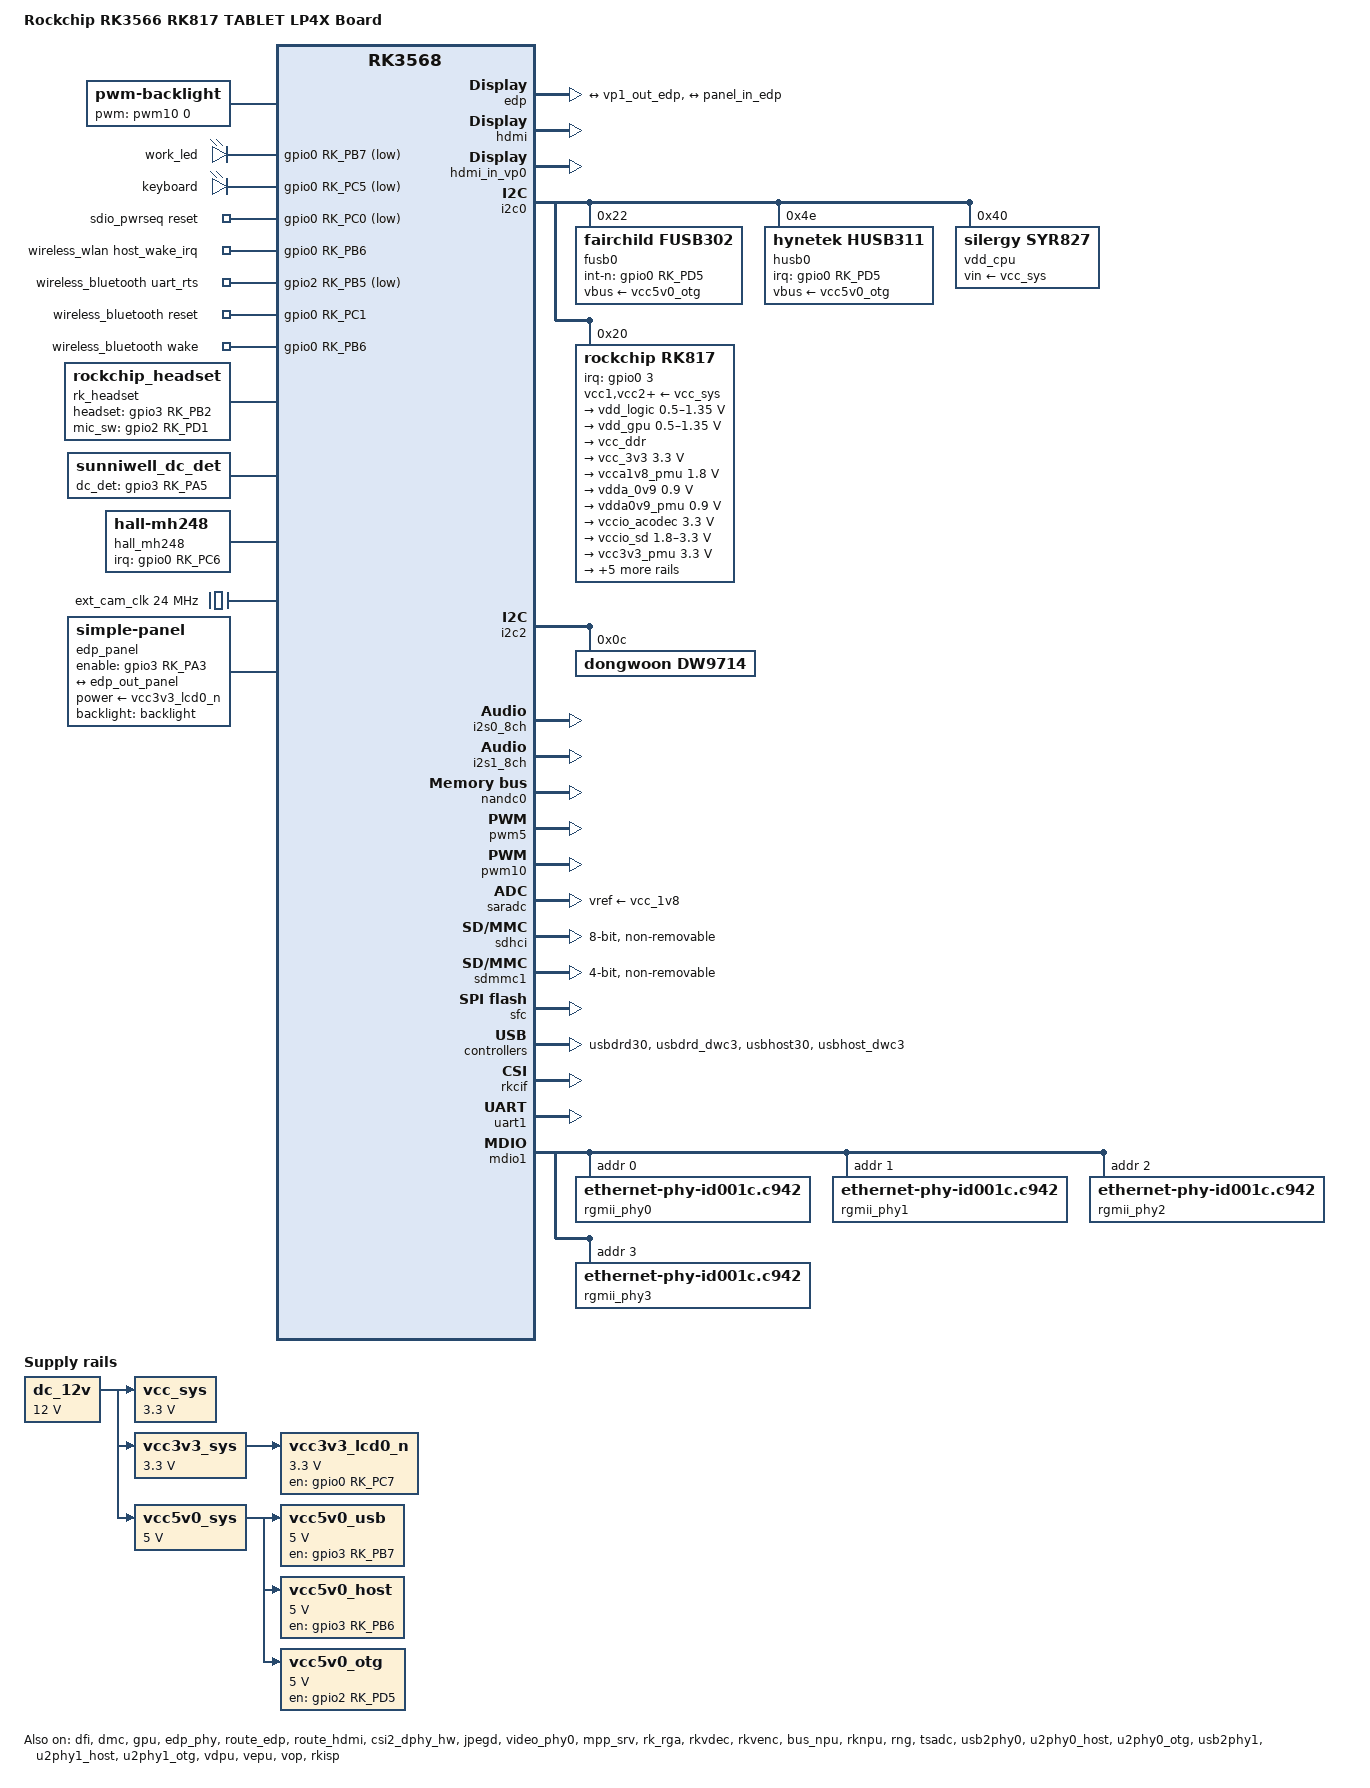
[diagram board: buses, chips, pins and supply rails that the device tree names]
// SPDX-License-Identifier: (GPL-2.0+ OR MIT)
/*
 * Copyright (c) 2020 Rockchip Electronics Co., Ltd.
 *
 */

/dts-v1/;

#include <dt-bindings/gpio/gpio.h>
#include <dt-bindings/pinctrl/rockchip.h>
#include <dt-bindings/input/rk-input.h>
#include <dt-bindings/sensor-dev.h>
#include <dt-bindings/display/drm_mipi_dsi.h>
#include "rk3568-sunniwell-part1.dtsi"
#include "rk3568-sunniwell-part2.dtsi"

/ {
	model = "Rockchip RK3566 RK817 TABLET LP4X Board";
	compatible = "rockchip,rk3568-evb2-lp4x-v10", "rockchip,rk3568";

	    adc_keys: adc-keys {
        status = "disabled";
        compatible = "adc-keys";
        io-channels = <&saradc 0>;
        io-channel-names = "buttons";
        keyup-threshold-microvolt = <1800000>;
        poll-interval = <100>;

        vol-up-key {
            label = "volume up";
            linux,code = <KEY_VOLUMEUP>;
            press-threshold-microvolt = <1750>;
        };

        vol-down-key {
            label = "volume down";
            linux,code = <KEY_VOLUMEDOWN>;
            press-threshold-microvolt = <297500>;
        };

        menu-key {
            label = "menu";
            linux,code = <KEY_MENU>;
            press-threshold-microvolt = <980000>;
        };

        back-key {
            label = "back";
            linux,code = <KEY_BACK>;
            press-threshold-microvolt = <1305500>;
        };
    };

	audiopwmout_diff: audiopwmout-diff {
        status = "disabled";
        compatible = "simple-audio-card";
        simple-audio-card,format = "i2s";
        simple-audio-card,name = "rockchip,audiopwmout-diff";
        simple-audio-card,mclk-fs = <256>;
        simple-audio-card,bitclock-master = <&master>;
        simple-audio-card,frame-master = <&master>;
        simple-audio-card,cpu {
            sound-dai = <&i2s3_2ch>;
        };
        master: simple-audio-card,codec {
            sound-dai = <&dig_acodec>;
        };
    };

	backlight: backlight {
		compatible = "pwm-backlight";
		pwms = <&pwm10 0 25000 0>;
		brightness-levels = <
			  0  20  20  21  21  22  22  23
			 23  24  24  25  25  26  26  27
			 27  28  28  29  29  30  30  31
			 31  32  32  33  33  34  34  35
			 35  36  36  37  37  38  38  39
			 40  41  42  43  44  45  46  47
			 48  49  50  50  51  52  53  54
			 55  55  56  57  58  59  60  61
			 62  63  64  64  65  65  66  67
			 68  69  70  71  71  72  73  74
			 75  76  77  78  79  79  80  81
			 82  83  84  85  86  86  87  88
			 89  90  91  92  93  94  94  95
			 96  97  98  99 100 101 101 102
			103 104 105 106 107 107 108 109
			110 111 112 113 114 115 115 116
			117 118 119 120 121 122 123 123
			124 125 126 127 128 129 130 130
			131 132 133 134 135 136 136 137
			138 139 140 141 142 143 143 144
			145 146 147 147 148 149 150 151
			152 153 154 155 156 156 157 158
			159 157 158 159 160 161 162 162
			163 164 165 166 167 168 169 169
			170 171 172 173 174 175 175 176
			177 178 179 180 181 182 182 183
			184 185 186 187 188 189 190 190
			191 192 193 194 195 196 197 197
			198 199 200 201 202 203 204 204
			205 206 207 208 209 209 210 211
			212 213 213 214 214 215 215 216
			216 217 217 218 218 219 219 220
		>;
		default-brightness-level = <200>;
	};

	charge-animation {
		compatible = "rockchip,uboot-charge";
		rockchip,uboot-charge-on = <1>;
		rockchip,android-charge-on = <0>;
		rockchip,uboot-low-power-voltage = <3350>;
		rockchip,screen-on-voltage = <3400>;
		status = "disabled";
	};

    dc_12v: dc-12v {
        compatible = "regulator-fixed";
        regulator-name = "dc_12v";
        regulator-always-on;
        regulator-boot-on;
        regulator-min-microvolt = <12000000>;
        regulator-max-microvolt = <12000000>;
    };

	vcc_sys: vcc_sys {
		compatible = "regulator-fixed";
		regulator-name = "vcc_sys";
		regulator-always-on;
		regulator-boot-on;
		regulator-min-microvolt = <3300000>;
		regulator-max-microvolt = <3300000>;
		vin-supply = <&dc_12v>;
	};

	hdmi_sound: hdmi-sound {
		compatible = "simple-audio-card";
		simple-audio-card,format = "i2s";
		simple-audio-card,mclk-fs = <128>;
		simple-audio-card,name = "rockchip,hdmi";
		status = "okay";

		simple-audio-card,cpu {
				sound-dai = <&i2s0_8ch>;
		};
		simple-audio-card,codec {
				sound-dai = <&hdmi>;
		};
	};

	leds: leds {
        compatible = "gpio-leds";
        work_led: work {
            gpios = <&gpio0 RK_PB7 GPIO_ACTIVE_LOW>;
			linux,default-trigger = "on";
        };
		keyboard: key {
			gpios = <&gpio0 RK_PC5 GPIO_ACTIVE_LOW>;
			linux,default-trigger = "on";
		};
    };

	pdmics: dummy-codec {
        status = "disabled";
        compatible = "rockchip,dummy-codec";
        #sound-dai-cells = <0>;
    };

	
	pdm_mic_array: pdm-mic-array {
        status = "disabled";
        compatible = "simple-audio-card";
        simple-audio-card,name = "rockchip,pdm-mic-array";
        simple-audio-card,cpu {
            sound-dai = <&pdm>;
        };
        simple-audio-card,codec {
            sound-dai = <&pdmics>;
        };
    };

	rk817-sound {
		compatible = "simple-audio-card";
		simple-audio-card,format = "i2s";
		simple-audio-card,name = "rockchip,rk817-codec";
		simple-audio-card,mclk-fs = <256>;

		simple-audio-card,cpu {
			sound-dai = <&i2s1_8ch>;
		};
		simple-audio-card,codec {
			sound-dai = <&rk817_codec>;
		};
	};



	vcc3v3_sys: vcc3v3-sys {
        compatible = "regulator-fixed";
        regulator-name = "vcc3v3_sys";
        regulator-always-on;
        regulator-boot-on;
        regulator-min-microvolt = <3300000>;
        regulator-max-microvolt = <3300000>;
        vin-supply = <&dc_12v>;
    };

	vcc5v0_sys: vcc5v0-sys {
        compatible = "regulator-fixed";
        regulator-name = "vcc5v0_sys";
        regulator-always-on;
        regulator-boot-on;
        regulator-min-microvolt = <5000000>;
        regulator-max-microvolt = <5000000>;
        vin-supply = <&dc_12v>;
    };

	vcc5v0_usb: vcc5v0-usb {
        compatible = "regulator-fixed";
        regulator-name = "vcc5v0_usb";
        regulator-always-on;
        regulator-boot-on;
        regulator-min-microvolt = <5000000>;
        regulator-max-microvolt = <5000000>;
        enable-active-high;
        gpio = <&gpio3 RK_PB7 GPIO_ACTIVE_HIGH>;
        vin-supply = <&vcc5v0_sys>;
        pinctrl-names = "default";
        pinctrl-0 = <&vcc5v0_otg_pwr_en>;
    };

    vcc5v0_host: vcc5v0-host-regulator {
        compatible = "regulator-fixed";
        regulator-name = "vcc5v0_host";
        regulator-boot-on;
        regulator-always-on;
        regulator-min-microvolt = <5000000>;
        regulator-max-microvolt = <5000000>;
        enable-active-high;
        gpio = <&gpio3 RK_PB6 GPIO_ACTIVE_HIGH>;
        vin-supply = <&vcc5v0_sys>;
        pinctrl-names = "default";
        pinctrl-0 = <&vcc5v0_host_en>;
    };

    vcc5v0_otg: vcc5v0-otg-regulator {
        compatible = "regulator-fixed";
        regulator-name = "vcc5v0_otg";
        regulator-min-microvolt = <5000000>;
        regulator-max-microvolt = <5000000>;
        enable-active-high;
        gpio = <&gpio2 RK_PD5 GPIO_ACTIVE_HIGH>;
        vin-supply = <&vcc5v0_sys>;
        pinctrl-names = "default";
        pinctrl-0 = <&vcc5v0_otg_en>;
    };

    vcc3v3_lcd0_n: vcc3v3-lcd0-n {
        compatible = "regulator-fixed";
        regulator-name = "vcc3v3_lcd0_n";
        regulator-boot-on;
        regulator-min-microvolt = <3300000>;
        regulator-max-microvolt = <3300000>;
        enable-active-high;
        gpio = <&gpio0 RK_PC7 GPIO_ACTIVE_HIGH>;
        vin-supply = <&vcc3v3_sys>;

        regulator-state-mem {
            regulator-off-in-suspend;
        };
    };



	sdio_pwrseq: sdio-pwrseq {
		status = "okay";
		compatible = "mmc-pwrseq-simple";
		clocks = <&rk817 1>;
		clock-names = "ext_clock";
		pinctrl-names = "default";
		pinctrl-0 = <&wifi_enable_h>;
		post-power-on-delay-ms = <200>;
		reset-gpios = <&gpio0 RK_PC0 GPIO_ACTIVE_LOW>;
	};


	wireless_wlan: wireless-wlan {
		compatible = "wlan-platdata";
		rockchip,grf = <&grf>;
		wifi_chip_type = "rtl8821cs";
		pinctrl-names = "default";
		pinctrl-0 = <&wifi_host_wake_irq>;
		WIFI,host_wake_irq = <&gpio0 RK_PB6 GPIO_ACTIVE_HIGH>;
		status = "okay";
	};

	wireless_bluetooth: wireless-bluetooth {
		compatible = "bluetooth-platdata";
		clocks = <&rk817 1>;
		clock-names = "ext_clock";
		//wifi-bt-power-toggle;
		uart_rts_gpios = <&gpio2 RK_PB5 GPIO_ACTIVE_LOW>;
		pinctrl-names = "default", "rts_gpio";
		pinctrl-0 = <&uart1m0_rtsn>;
		pinctrl-1 = <&uart1_gpios>;
		BT,reset_gpio    = <&gpio0 RK_PC1 GPIO_ACTIVE_HIGH>;
		BT,wake_gpio     = <&gpio0 RK_PB6 GPIO_ACTIVE_HIGH>;
		status = "okay";
	};

	test-power {
        status = "okay";
    };

	rk_headset: rk-headset {
        compatible = "rockchip_headset";
        headset_gpio = <&gpio3 RK_PB2 GPIO_ACTIVE_HIGH>;
        mic_sw_gpio = <&gpio2 RK_PD1 GPIO_ACTIVE_HIGH>;
        pinctrl-names = "default";
        pinctrl-0 = <&hp_det>;
    };

	dc_det: dc-det {
        compatible = "sunniwell_dc_det";
        dc_det_gpio = <&gpio3 RK_PA5 GPIO_ACTIVE_HIGH>;
        pinctrl-names = "default";
        pinctrl-0 = <&dc_det_gpio_pin>;
    };

	bt_sco: bt-sco {
        compatible = "delta,dfbmcs320";
        #sound-dai-cells = <0>;
        status = "okay";
    };
	
	bt_sound: bt-sound {
        compatible = "simple-audio-card";
        simple-audio-card,format = "dsp_b";
        simple-audio-card,bitclock-inversion = <0x00000001>;
        simple-audio-card,mclk-fs = <0x00000100>;
        simple-audio-card,name = "rockchip,bt";
        simple-audio-card,bitclock-master = <&bt_sound>;
        simple-audio-card,frame-master = <&bt_sound>;
        simple-audio-card,cpu {
            sound-dai = <&i2s2_2ch>;
        };
        simple-audio-card,codec {
            sound-dai = <&bt_sco>;
        };
    };

	hall_mh248: hall-mh248 {
        compatible = "hall-mh248";
        status = "okay";
        pinctrl-names = "default";
        pinctrl-0 = <&mh_248>;
        irq-gpio = <&gpio0 RK_PC6 IRQ_TYPE_LEVEL_LOW>;
        hall-active = <0x00000001>;
    };

		ext_cam_clk: external-camera-clock {
        compatible = "fixed-clock";
        clock-frequency = <24000000>;
        clock-output-names = "CLK_CAMERA_24MHZ";
        #clock-cells = <0>;
    };

	edp_panel {
        compatible = "simple-panel";
        power-supply = <&vcc3v3_lcd0_n>;
        backlight = <&backlight>;
        enable-gpios = <&gpio3 RK_PA3 GPIO_ACTIVE_HIGH>;
        bus-format = <0x0000100a>;
        bpc = <0x00000008>;
        ports {
            panel_in_edp: endpoint {
                remote-endpoint = <&edp_out_panel>;
            };
        };
    };
};

&cpu0 {
	cpu-supply = <&vdd_cpu>;
};

&dfi {
	status = "okay";
};

&dmc {
	center-supply = <&vdd_logic>;
	status = "okay";
};

&gpu {
	mali-supply = <&vdd_gpu>;
	status = "okay";
};

&edp_phy {
    status = "okay";
};

&edp {
    force-hpd;
    status = "okay";
    ports {
        edp_in: port@0 {
            edp_in_vp1: endpoint@1 {
                reg = <1>;
                remote-endpoint = <&vp1_out_edp>;
                status = "okay";
            };
        };
        port@1 {
            reg = <1>;

            edp_out_panel: endpoint {
                remote-endpoint = <&panel_in_edp>;
            };
        };
    };
};

&edp_in_vp0 {
    status = "disabled";
};

&edp_in_vp1 {
    status = "okay";
};

&route_edp {
    connect = <&vp1_out_edp>;
    status = "okay";
};

&hdmi {
    status = "okay";
    rockchip,phy-table =
        <92812500  0x8009 0x0000 0x0270>,
        <165000000 0x800b 0x0000 0x026d>,
        <185625000 0x800b 0x0000 0x01ed>,
        <297000000 0x800b 0x0000 0x01ad>,
        <594000000 0x8029 0x0000 0x0088>,
        <000000000 0x0000 0x0000 0x0000>;
};

&hdmi_in_vp0 {
    status = "okay";
};

&hdmi_in_vp1 {
    status = "disabled";
};

&route_hdmi {
    status = "okay";
    connect = <&vp1_out_hdmi>;
};



&csi2_dphy_hw {
	status = "okay";
};

&csi2_dphy0 {
	status = "disabled";
};







&dsi0 {
	status = "disabled";
};

&dsi0_in_vp0 {
	status = "disabled";
};

&dsi0_in_vp1 {
	status = "disabled";
};


&i2c0 {
	status = "okay";

	fusb0: fusb30x@22 {
        compatible = "fairchild,fusb302";
        reg = <0x22>;
        pinctrl-names = "default";
        pinctrl-0 = <&fusb0_int>;
        vbus-supply = <&vcc5v0_otg>;
        int-n-gpios = <&gpio0 RK_PD5 GPIO_ACTIVE_HIGH>;
        status = "okay";
    };

	husb0: husb311@4e {
        compatible = "hynetek,husb311";
        reg = <0x4e>;
        interrupt-parent = <&gpio0>;
        interrupts = <RK_PD5 IRQ_TYPE_LEVEL_LOW>;
        pinctrl-names = "default";
        pinctrl-0 = <&fusb0_int>;
        vbus-supply = <&vcc5v0_otg>;
        status = "okay";

        usb_con: connector {
            data-role = "dual";
            power-role = "dual";
            try-power-role = "source";
            source-pdos = <0x040190c8>;
            sink-pdos = <0x040190c8>;
            op-sink-microwatt = <10000000>;
        };
    };


    vdd_cpu:syr837@40 {
        compatible = "silergy,syr827";
        reg = <0x40>;
        vin-supply = <&vcc_sys>;
        regulator-compatible = "fan53555-reg";
        regulator-name = "vdd_cpu";
        regulator-min-microvolt = <712500>;
        regulator-max-microvolt = <1390000>;
        regulator-ramp-delay = <2300>;
        fcs,suspend-voltage-selector = <1>;
        regulator-always-on;
        regulator-initial-state = <3>;
        regulator-state-mem {
            regulator-off-in-suspend;
        };
    };

	rk817: pmic@20 {
		compatible = "rockchip,rk817";
		reg = <0x20>;
		interrupt-parent = <&gpio0>;
		interrupts = <3 IRQ_TYPE_LEVEL_LOW>;

		pinctrl-names = "default", "pmic-sleep",
				"pmic-power-off", "pmic-reset";
		pinctrl-0 = <&pmic_int>;
		pinctrl-1 = <&soc_slppin_slp>, <&rk817_slppin_slp>;
		pinctrl-2 = <&soc_slppin_gpio>, <&rk817_slppin_pwrdn>;
		pinctrl-3 = <&soc_slppin_gpio>, <&rk817_slppin_rst>;
		rockchip,system-power-controller;
		wakeup-source;
		#clock-cells = <1>;
		clock-output-names = "rk808-clkout1", "rk808-clkout2";
		//fb-inner-reg-idxs = <2>;
		/* 1: rst regs (default in codes), 0: rst the pmic */
		pmic-reset-func = <0>;
		/* not save the PMIC_POWER_EN register in uboot */
		not-save-power-en = <1>;

		vcc1-supply = <&vcc_sys>;
		vcc2-supply = <&vcc_sys>;
		vcc3-supply = <&vcc_sys>;
		vcc4-supply = <&vcc_sys>;
		vcc5-supply = <&vcc_sys>;
		vcc6-supply = <&vcc_sys>;
		vcc7-supply = <&vcc_sys>;
		vcc8-supply = <&vcc_sys>;
		vcc9-supply = <&vcc_sys>;

		pwrkey {
			status = "okay";
		};

		pinctrl_rk8xx: pinctrl_rk8xx {
			gpio-controller;
			#gpio-cells = <2>;

			rk817_slppin_null: rk817_slppin_null {
				pins = "gpio_slp";
				function = "pin_fun0";
			};

			rk817_slppin_slp: rk817_slppin_slp {
				pins = "gpio_slp";
				function = "pin_fun1";
			};

			rk817_slppin_pwrdn: rk817_slppin_pwrdn {
				pins = "gpio_slp";
				function = "pin_fun2";
			};

			rk817_slppin_rst: rk817_slppin_rst {
				pins = "gpio_slp";
				function = "pin_fun3";
			};
		};

		regulators {
			vdd_logic: DCDC_REG1 {
				regulator-always-on;
				regulator-boot-on;
				regulator-min-microvolt = <500000>;
				regulator-max-microvolt = <1350000>;
				regulator-init-microvolt = <900000>;
				regulator-ramp-delay = <6001>;
				regulator-initial-mode = <0x2>;
				regulator-name = "vdd_logic";
				regulator-state-mem {
					regulator-off-in-suspend;
					regulator-suspend-microvolt = <900000>;
				};
			};

			vdd_gpu: DCDC_REG2 {
				regulator-always-on;
				regulator-boot-on;
				regulator-min-microvolt = <500000>;
				regulator-max-microvolt = <1350000>;
				regulator-init-microvolt = <900000>;
				regulator-ramp-delay = <6001>;
				regulator-initial-mode = <0x2>;
				regulator-name = "vdd_gpu";
				regulator-state-mem {
					regulator-off-in-suspend;
				};
			};

			vcc_ddr: DCDC_REG3 {
				regulator-always-on;
				regulator-boot-on;
				regulator-initial-mode = <0x2>;
				regulator-name = "vcc_ddr";
				regulator-state-mem {
					regulator-on-in-suspend;
				};
			};

			vcc_3v3: DCDC_REG4 {
				regulator-always-on;
				regulator-boot-on;
				regulator-min-microvolt = <3300000>;
				regulator-max-microvolt = <3300000>;
				regulator-initial-mode = <0x2>;
				regulator-name = "vcc_3v3";
				regulator-state-mem {
					regulator-off-in-suspend;
				};
			};

			vcca1v8_pmu: LDO_REG1 {
				regulator-always-on;
				regulator-boot-on;
				regulator-min-microvolt = <1800000>;
				regulator-max-microvolt = <1800000>;
				regulator-name = "vcca1v8_pmu";
				regulator-state-mem {
					regulator-on-in-suspend;
					regulator-suspend-microvolt = <1800000>;
				};
			};

			vdda_0v9: LDO_REG2 {
				regulator-always-on;
				regulator-boot-on;
				regulator-min-microvolt = <900000>;
				regulator-max-microvolt = <900000>;
				regulator-name = "vdda_0v9";
				regulator-state-mem {
					regulator-off-in-suspend;
				};
			};

			vdda0v9_pmu: LDO_REG3 {
				regulator-always-on;
				regulator-boot-on;
				regulator-min-microvolt = <900000>;
				regulator-max-microvolt = <900000>;
				regulator-name = "vdda0v9_pmu";
				regulator-state-mem {
					regulator-on-in-suspend;
					regulator-suspend-microvolt = <900000>;
				};
			};

			vccio_acodec: LDO_REG4 {
				regulator-always-on;
				regulator-boot-on;
				regulator-min-microvolt = <3300000>;
				regulator-max-microvolt = <3300000>;
				regulator-name = "vccio_acodec";
				regulator-state-mem {
					regulator-off-in-suspend;
				};
			};

			vccio_sd: LDO_REG5 {
				regulator-always-on;
				regulator-boot-on;
				regulator-min-microvolt = <1800000>;
				regulator-max-microvolt = <3300000>;
				regulator-name = "vccio_sd";
				regulator-state-mem {
					regulator-off-in-suspend;
				};
			};

			vcc3v3_pmu: LDO_REG6 {
				regulator-always-on;
				regulator-boot-on;
				regulator-min-microvolt = <3300000>;
				regulator-max-microvolt = <3300000>;
				regulator-name = "vcc3v3_pmu";
				regulator-state-mem {
					regulator-on-in-suspend;
					regulator-suspend-microvolt = <3000000>;
				};
			};

			vcc_1v8: LDO_REG7 {
				regulator-always-on;
				regulator-boot-on;
				regulator-min-microvolt = <1800000>;
				regulator-max-microvolt = <1800000>;
				regulator-name = "vcc_1v8";
				regulator-state-mem {
					regulator-off-in-suspend;
				};
			};

			vcc1v8_dvp: LDO_REG8 {
				regulator-always-on;
				regulator-boot-on;
				regulator-min-microvolt = <1800000>;
				regulator-max-microvolt = <1800000>;
				regulator-name = "vcc1v8_dvp";
				regulator-state-mem {
					regulator-off-in-suspend;
				};
			};

			vcc2v8_dvp: LDO_REG9 {
				regulator-always-on;
				regulator-boot-on;
				regulator-min-microvolt = <1800000>;
				regulator-max-microvolt = <1800000>;
				regulator-name = "vcc2v8_dvp";
				regulator-state-mem {
					regulator-off-in-suspend;
				};
			};

			dcdc_boost: BOOST {
				regulator-always-on;
				regulator-boot-on;
				regulator-min-microvolt = <5000000>;
				regulator-max-microvolt = <5000000>;
				regulator-name = "boost";
				regulator-state-mem {
					regulator-off-in-suspend;
				};
			};

			otg_switch: OTG_SWITCH {
				regulator-name = "otg_switch";
				regulator-state-mem {
					regulator-off-in-suspend;
				};
			};
		};

		battery {
			compatible = "rk817,battery";
			ocv_table = <3400 3513 3578 3687 3734 3752 3763
				     3766 3771 3784 3804 3836 3885 3925
				     3962 4005 4063 4114 4169 4227 4303>;
			design_capacity = <5000>;
			design_qmax = <5500>;
			bat_res = <100>;
			sleep_enter_current = <150>;
			sleep_exit_current = <180>;
			sleep_filter_current = <100>;
			power_off_thresd = <3350>;
			zero_algorithm_vol = <3850>;
			max_soc_offset = <60>;
			monitor_sec = <5>;
			sample_res = <10>;
			virtual_power = <0>;
		};

		charger {
			compatible = "rk817,charger";
			min_input_voltage = <4500>;
			max_input_current = <1500>;
			max_chrg_current = <2000>;
			max_chrg_voltage = <4300>;
			chrg_term_mode = <0>;
			chrg_finish_cur = <300>;
			virtual_power = <0>;
			dc_det_adc = <0>;
			extcon = <&usb2phy0>;
			gate_function_disable = <1>;
		};

		rk817_codec: codec {
			#sound-dai-cells = <0>;
			compatible = "rockchip,rk817-codec";
			clocks = <&cru I2S1_MCLKOUT>;
			clock-names = "mclk";
			assigned-clocks = <&cru I2S1_MCLKOUT>, <&cru I2S1_MCLK_TX_IOE>;
			assigned-clock-rates = <12288000>;
			assigned-clock-parents = <&cru I2S1_MCLKOUT_TX>, <&cru I2S1_MCLKOUT_TX>;
			pinctrl-names = "default";
			pinctrl-0 = <&i2s1m0_mclk>;
			hp-volume = <20>;
			spk-volume = <3>;
			out-l2spk-r2hp;
			spk-ctl-gpios = <&gpio0 RK_PA6 GPIO_ACTIVE_HIGH>;
			status = "okay";
		};
	};
};

&i2c2 {
	status = "okay";
	pinctrl-0 = <&i2c2m1_xfer>;

	dw9714: dw9714@c {
		compatible = "dongwoon,dw9714";
		status = "okay";
		reg = <0x0c>;
		rockchip,camera-module-index = <0>;
		rockchip,vcm-start-current = <10>;
		rockchip,vcm-rated-current = <85>;
		rockchip,vcm-step-mode = <5>;
		rockchip,camera-module-facing = "back";
	};
};

&i2c3 {
	status = "disabled";
	pinctrl-names = "default";
	pinctrl-0 = <&i2c3m1_xfer>;
	clock-frequency = <400000>;
	i2c-scl-rising-time-ns = <138>;
	i2c-scl-falling-time-ns = <4>;
};

&i2c5 {
	status = "disabled";
};

&i2s0_8ch {
	status = "okay";
};

&i2s1_8ch {
	status = "okay";
	rockchip,clk-trcm = <1>;
	pinctrl-names = "default";
	pinctrl-0 = <&i2s1m0_sclktx
		     &i2s1m0_lrcktx
		     &i2s1m0_sdi0
		     &i2s1m0_sdo0>;
};

&jpegd {
	status = "okay";
};

&jpegd_mmu {
	status = "okay";
};

&video_phy0 {
	status = "okay";
};

&mpp_srv {
	status = "okay";
};

&nandc0 {
	status = "okay";
};

&pinctrl {
	pmic {
		pmic_int: pmic_int {
			rockchip,pins =<0 RK_PA3 RK_FUNC_GPIO &pcfg_pull_up>;
		};

		soc_slppin_gpio: soc_slppin_gpio {
			rockchip,pins =<0 RK_PA2 RK_FUNC_GPIO &pcfg_output_low>;
		};

		soc_slppin_slp: soc_slppin_slp {
			rockchip,pins =<0 RK_PA2 1 &pcfg_pull_none>;
		};

		soc_slppin_rst: soc_slppin_rst {
			rockchip,pins =<0 RK_PA2 2 &pcfg_pull_none>;
		};
	};

	usb {
        vcc5v0_host_en: vcc5v0-host-en {
            rockchip,pins = <3 RK_PB6 RK_FUNC_GPIO &pcfg_pull_none>;
        };

        vcc5v0_otg_pwr_en: vcc5v0-otg-pwr-en {
            rockchip,pins = <3 RK_PB7 RK_FUNC_GPIO &pcfg_pull_none>;
        };

        vcc5v0_otg_en: vcc5v0-otg-en {
            rockchip,pins = <2 RK_PD5 RK_FUNC_GPIO &pcfg_pull_none>;
        };
    };

	sdio-pwrseq {
		wifi_enable_h: wifi-enable-h {
			rockchip,pins = <0 RK_PC1 RK_FUNC_GPIO &pcfg_pull_none>;
		};
	};

	wireless-wlan {
		wifi_host_wake_irq: wifi-host-wake-irq {
			rockchip,pins = <0 RK_PC4 RK_FUNC_GPIO &pcfg_pull_down>;
		};
	};

    wireless-bluetooth {
        uart8_gpios: uart8-gpios {
            rockchip,pins = <2 RK_PB1 RK_FUNC_GPIO &pcfg_pull_none>;
        };

        uart1_gpios: uart1-gpios {
            rockchip,pins = <2 RK_PB5 RK_FUNC_GPIO &pcfg_pull_none>;
        };
    };

	headphone {
		hp_det: hp-det {
			rockchip,pins = <3 RK_PB2 RK_FUNC_GPIO &pcfg_pull_down>;
		};
	};

    mxc6655xa {
        mxc6655xa_irq_gpio: mxc6655xa_irq_gpio {
            rockchip,pins = <3 RK_PD7 RK_FUNC_GPIO &pcfg_pull_none>;
        };
    };

    sii902x {
        sii902x_hdmi_int: sii902x-hdmi-int {
            rockchip,pins = <3 RK_PA0 RK_FUNC_GPIO &pcfg_pull_up>;
        };
    };

    fusb30x {
        fusb0_int: fusb0-int {
            rockchip,pins = <0 RK_PD5 RK_FUNC_GPIO &pcfg_pull_up>;
        };
    };

    power-dc {
        dc_det_gpio_pin: dc-det-gpio-pin {
            rockchip,pins = <3 RK_PA5 RK_FUNC_GPIO &pcfg_pull_up>;
        };
    };

	touch {
        touch_gpio: touch-gpio {
            rockchip,pins =<0 RK_PB5 RK_FUNC_GPIO &pcfg_pull_up>,
                			<0 RK_PB6 RK_FUNC_GPIO &pcfg_pull_none>;
        };
    };
	keyboard {
		key_board: key-board {
			rockchip,pins =<0 RK_PC5 RK_FUNC_GPIO &pcfg_pull_up>;
		};
	};

    hallsensor {
        mh_248: mh-248 {
            rockchip,pins = <0 RK_PC6 RK_FUNC_GPIO &pcfg_pull_up>;
        };
    };

    vsel-gpio {
        rockchip,pins = <0 RK_PA2 RK_FUNC_GPIO &pcfg_pull_up>;
    };
};

&pmu_io_domains {
	status = "okay";
	pmuio1-supply = <&vcc3v3_pmu>;
	pmuio2-supply = <&vcca1v8_pmu>;
	vccio1-supply = <&vccio_acodec>;
	vccio3-supply = <&vccio_sd>;
	vccio4-supply = <&vcca1v8_pmu>;
	vccio5-supply = <&vcc_3v3>;
	vccio6-supply = <&vcc1v8_dvp>;
	vccio7-supply = <&vcc_3v3>;
};

&pwm5 {
    status = "okay";
};

&pwm10 {
    status = "okay";
};

&reserved_memory {
    drm_logo: drm-logo@00000000 {
        compatible = "rockchip,drm-logo";
        reg = <0x0 0xedf00000 0x0 0xa8e000>;
    };
    drm_cubic_lut: drm-cubic-lut@00000000 {
        compatible = "rockchip,drm-cubic-lut";
        reg = <0x0 0xeff00000 0x0 0x8000>;
    };
    rknpu_reserved: rknpu {
        compatible = "shared-dma-pool";
        inactive;
        reusable;
        size = <0x0 0x08000000>;
        alignment = <0x0 0x1000>;
    };
};


&rk_rga {
	status = "okay";
};

&rkvdec {
    status = "okay";
};

&rkisp_mmu {
	status = "okay";
};

&rkisp_vir0 {
	status = "disabled";
};

&rkvenc {
    venc-supply = <&vdd_logic>;
    status = "okay";
};

&rkvenc_mmu {
    status = "okay";
};

&rkvenc {
	status = "okay";
};

&bus_npu {
    bus-supply = <&vdd_logic>;
    pvtm-supply = <&vdd_cpu>;
    status = "okay";
};

&rknpu {
    memory-region = <&rknpu_reserved>;
    rknpu-supply = <&vdd_gpu>;
    status = "okay";
};

&rknpu_mmu {
    status = "okay";
};

&rng {
    status = "okay";
};

&rockchip_suspend {
    status = "okay";
    rockchip,sleep-mode-config = <
        (0
        | RKPM_SLP_CENTER_OFF
        | RKPM_SLP_HW_PLLS_OFF
        | RKPM_SLP_PMUALIVE_32K
        | RKPM_SLP_PMIC_LP
        | RKPM_SLP_32K_PVTM
        )
    >;
    rockchip,wakeup-config = <
        (0
        | RKPM_PWM0_WKUP_EN
        | RKPM_CPU0_WKUP_EN
        )
    >;
};

&saradc {
	status = "okay";
	vref-supply = <&vcc_1v8>;
};

&sdhci {
	bus-width = <8>;
	no-sdio;
	no-sd;
	non-removable;
	max-frequency = <200000000>;
	status = "okay";
};

&sdmmc0 {
	status = "disabled";
	    max-frequency = <150000000>;
    supports-sd;
    bus-width = <4>;
    cap-mmc-highspeed;
    cap-sd-highspeed;
    disable-wp;
    sd-uhs-sdr104;
    vmmc-supply = <&vcc_3v3>;
    vqmmc-supply = <&vccio_sd>;
    pinctrl-names = "default";
    pinctrl-0 = <&sdmmc0_bus4 &sdmmc0_clk &sdmmc0_cmd &sdmmc0_det>;
};

&sdmmc1 {
    status = "okay";
    max-frequency = <200000000>;
    supports-sdio;
    bus-width = <4>;
    disable-wp;
    cap-sd-highspeed;
    cap-mmc-highspeed;
    cap-sdio-irq;
    keep-power-in-suspend;
    mmc-pwrseq = <&sdio_pwrseq>;
    non-removable;
    pinctrl-names = "default";
    pinctrl-0 = <&sdmmc1_bus4 &sdmmc1_cmd &sdmmc1_clk>;
    sd-uhs-sdr104;
};

&sfc {
    status = "okay";
};

&tsadc {
	status = "okay";
};

&usb2phy0 {
    status = "okay";
	/*
	extcon = <&fusb0 &husb0>;
    extcon_num = <2>;
	*/
};

&u2phy0_host {
    phy-supply = <&vcc5v0_usb>;
    status = "okay";
};

&u2phy0_otg {
	status = "okay";
};

&usb2phy1 {
    status = "okay";
};

&u2phy1_host {
    phy-supply = <&vcc5v0_host>;
    status = "okay";
};

&u2phy1_otg {
    phy-supply = <&vcc5v0_host>;
    status = "okay";
};

&usbdrd30 {
    status = "okay";
};

&usbdrd_dwc3 {
    status = "okay";
	/*
	quirk-skip-phy-init;
    extcon = <&fusb0 &husb0>;
    extcon_num = <2>;
	*/
};

&usbhost30 {
    status = "okay";
};

&usbhost_dwc3 {
    status = "okay";
};

/*
&usb_host0_ehci {
    status = "okay";
};

&usb_host0_ohci {
    status = "okay";
};

&usb_host1_ehci {
    status = "okay";
};

&usb_host1_ohci {
    status = "okay";
};
*/
&rkcif {
    status = "okay";
};

&rkcif_mipi_lvds {
    status = "disabled";
};

&rkcif_mmu {
    status = "okay";
};

&vdpu {
	status = "okay";
};

&vdpu_mmu {
	status = "okay";
};

&vepu {
	status = "okay";
};

&vepu_mmu {
	status = "okay";
};

&vop {
	status = "okay";
	assigned-clocks = <&cru DCLK_VOP0>, <&cru DCLK_VOP1>;
    assigned-clock-parents = <&pmucru PLL_HPLL>, <&cru PLL_VPLL>;
};

&vop_mmu {
	status = "okay";
};

&vp0 {
    rockchip,primary-plane = <0x00000005>;
    rockchip,plane-mask = <0x0000002a>;
};

&vp1 {
    rockchip,primary-plane = <0x00000004>;
    rockchip,plane-mask = <0x00000015>;
};

&vp2 {
    rockchip,primary-plane = <0x00000000>;
    rockchip,plane-mask = <0x00000000>;
};

&pcie30phy {
    status = "disabled";
};

&rkisp {
    status = "okay";
};

&rkisp_mmu {
    status = "okay";
};


&uart1 {
	status = "okay";
	pinctrl-names = "default";
	pinctrl-0 = <&uart1m0_xfer &uart1m0_ctsn>;
};

&gmac0 {
    local-mac-address = [3e e6 60 23 a0 6f];
};

&gmac1 {
    local-mac-address = [42 e6 60 23 a0 6f];
};

&mdio1 {
    rgmii_phy0: phy@0 {
        compatible = "ethernet-phy-id001c.c942", "ethernet-phy-ieee802.3-c22";
        reg = <0>;
    };
    rgmii_phy1: phy@1 {
        compatible = "ethernet-phy-id001c.c942", "ethernet-phy-ieee802.3-c22";
        reg = <1>;
    };
    rgmii_phy2: phy@2 {
        compatible = "ethernet-phy-id001c.c942", "ethernet-phy-ieee802.3-c22";
        reg = <2>;
    };
    rgmii_phy3: phy@3 {
        compatible = "ethernet-phy-id001c.c942", "ethernet-phy-ieee802.3-c22";
        reg = <3>;
    };
};
